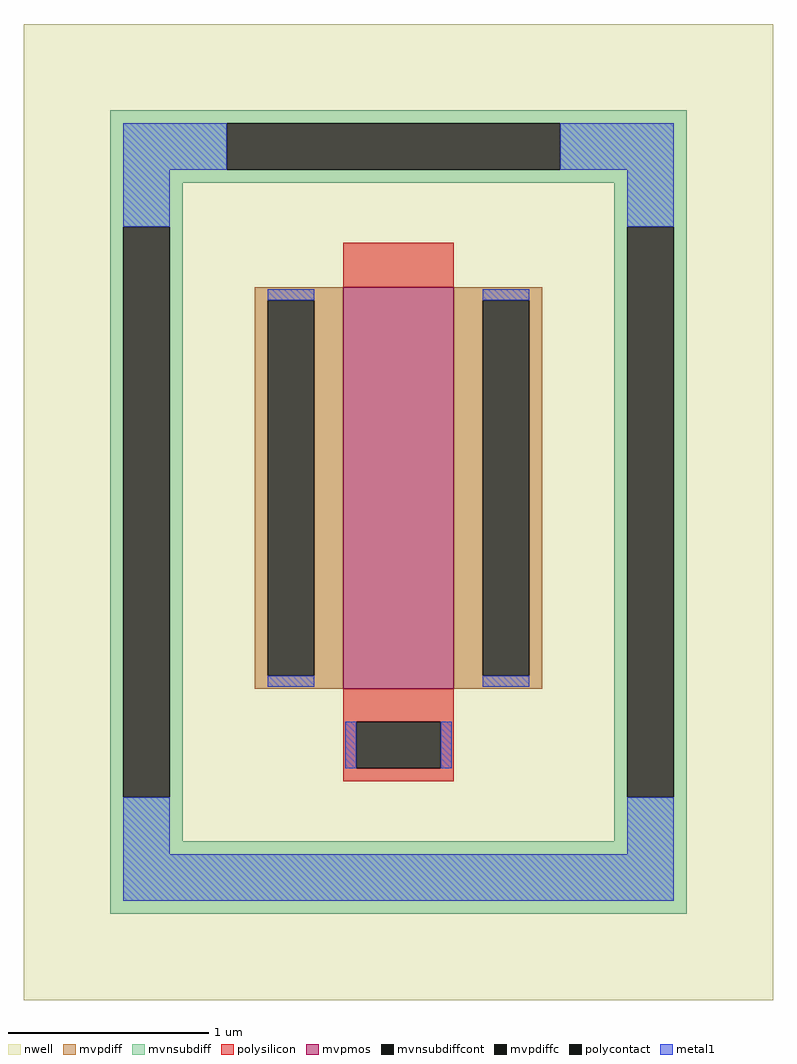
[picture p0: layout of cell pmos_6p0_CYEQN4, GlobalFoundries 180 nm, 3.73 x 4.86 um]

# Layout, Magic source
magic
tech gf180mcuD
magscale 1 10
<< nwell >>
rect -368 -486 378 486
<< mvpmos >>
rect -50 -176 60 224
<< mvpdiff >>
rect -138 211 -50 224
rect -138 -163 -125 211
rect -79 -163 -50 211
rect -138 -176 -50 -163
rect 60 211 148 224
rect 60 -163 89 211
rect 135 -163 148 211
rect 60 -176 148 -163
<< mvpdiffc >>
rect -125 -163 -79 211
rect 89 -163 135 211
<< mvnsubdiff >>
rect -282 387 292 400
rect -282 341 -166 387
rect 166 341 292 387
rect -282 328 292 341
rect -282 284 -210 328
rect -282 -284 -269 284
rect -223 -284 -210 284
rect 220 284 292 328
rect -282 -328 -210 -284
rect 220 -284 233 284
rect 279 -284 292 284
rect 220 -328 292 -284
rect -282 -400 292 -328
<< mvnsubdiffcont >>
rect -166 341 166 387
rect -269 -284 -223 284
rect 233 -284 279 284
<< polysilicon >>
rect -50 224 60 268
rect -50 -209 60 -176
rect -50 -255 -37 -209
rect 47 -255 60 -209
rect -50 -268 60 -255
<< polycontact >>
rect -37 -255 47 -209
<< metal1 >>
rect -269 341 -166 387
rect 166 341 279 387
rect -269 284 -223 341
rect 233 284 279 341
rect -125 211 -79 222
rect -125 -174 -79 -163
rect 89 211 135 222
rect 89 -174 135 -163
rect -48 -255 -37 -209
rect 47 -255 58 -209
rect -269 -341 -223 -284
rect 233 -341 279 -284
rect -269 -387 279 -341
<< properties >>
string FIXED_BBOX -246 -364 246 364
string gencell pmos_6p0
string library gf180mcu
string parameters w 2.0 l 0.5 m 1 nf 1 diffcov 100 polycov 100 guard 1 glc 1 grc 1 gtc 1 gbc 0 tbcov 100 rlcov 100 topc 0 botc 1 poverlap 0 doverlap 1 lmin 0.5 wmin 0.3 full_metal 1 compatible {pmos_3p3 pmos_6p0}
<< end >>
